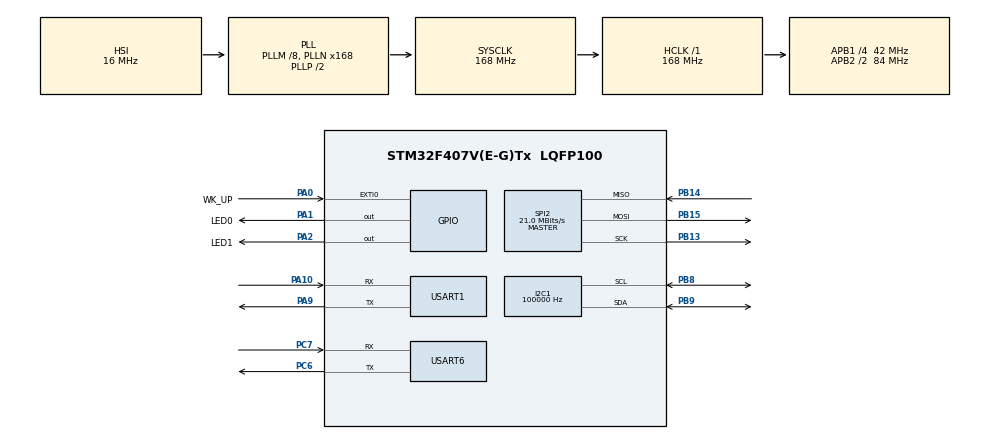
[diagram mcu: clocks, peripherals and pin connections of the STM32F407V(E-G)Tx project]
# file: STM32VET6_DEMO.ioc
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Dma.Request0=USART1_RX
Dma.USART1_RX.0.Direction=DMA_PERIPH_TO_MEMORY
Dma.USART1_RX.0.FIFOMode=DMA_FIFOMODE_DISABLE
Dma.USART1_RX.0.Instance=DMA2_Stream5
Dma.USART1_RX.0.MemDataAlignment=DMA_MDATAALIGN_BYTE
Dma.USART1_RX.0.MemInc=DMA_MINC_ENABLE
Dma.USART1_RX.0.Mode=DMA_NORMAL
Dma.USART1_RX.0.PeriphDataAlignment=DMA_PDATAALIGN_BYTE
Dma.USART1_RX.0.PeriphInc=DMA_PINC_DISABLE
Dma.USART1_RX.0.Priority=DMA_PRIORITY_MEDIUM
I2C1.ClockSpeed=100000
I2C1.I2C_Mode=I2C_Fast
Mcu.Family=STM32F4
Mcu.Name=STM32F407V(E-G)Tx
Mcu.Package=LQFP100
NVIC.DMA2_Stream5_IRQn=true\:0\:0\:false\:false\:true\:true\:true\:true
NVIC.EXTI0_IRQn=true\:0\:0\:false\:false\:true\:true\:true\:true
NVIC.PriorityGroup=NVIC_PRIORITYGROUP_4
NVIC.USART1_IRQn=true\:0\:0\:false\:false\:true\:true\:true\:true
PA0-WKUP.GPIO_Label=WK_UP
PA0-WKUP.GPIO_PuPd=GPIO_PULLDOWN
PA0-WKUP.Signal=GPXTI0
PA1.GPIO_Label=LED0
PA1.GPIO_PuPd=GPIO_PULLUP
PA1.Signal=GPIO_Output
PA10.Mode=Asynchronous
PA10.Signal=USART1_RX
PA13.Mode=Serial_Wire
PA13.Signal=SYS_JTMS-SWDIO
PA14.Mode=Serial_Wire
PA14.Signal=SYS_JTCK-SWCLK
PA2.GPIO_Label=LED1
PA2.GPIO_PuPd=GPIO_PULLUP
PA2.Signal=GPIO_Output
PA9.Mode=Asynchronous
PA9.Signal=USART1_TX
PB13.Mode=Full_Duplex_Master
PB13.Signal=SPI2_SCK
PB14.Mode=Full_Duplex_Master
PB14.Signal=SPI2_MISO
PB15.Mode=Full_Duplex_Master
PB15.Signal=SPI2_MOSI
PB8.GPIO_Mode=GPIO_MODE_AF_OD
PB8.GPIO_Pu=GPIO_PULLUP
PB8.Mode=I2C
PB8.Signal=I2C1_SCL
PB9.GPIO_Pu=GPIO_PULLUP
PB9.Mode=I2C
PB9.Signal=I2C1_SDA
PC6.Mode=Asynchronous
PC6.Signal=USART6_TX
PC7.Mode=Asynchronous
PC7.Signal=USART6_RX
PH0-OSC_IN.Mode=HSE-External-Oscillator
PH0-OSC_IN.Signal=RCC_OSC_IN
PH1-OSC_OUT.Mode=HSE-External-Oscillator
PH1-OSC_OUT.Signal=RCC_OSC_OUT
ProjectManager.HeapSize=0x200
ProjectManager.StackSize=0x400
ProjectManager.TargetToolchain=STM32CubeIDE
RCC.48MHZClocksFreq_Value=84000000
RCC.AHBFreq_Value=168000000
RCC.APB1CLKDivider=RCC_HCLK_DIV4
RCC.APB1Freq_Value=42000000
RCC.APB1TimFreq_Value=84000000
RCC.APB2CLKDivider=RCC_HCLK_DIV2
RCC.APB2Freq_Value=84000000
RCC.APB2TimFreq_Value=168000000
RCC.CortexFreq_Value=168000000
RCC.HCLKFreq_Value=168000000
RCC.HSE_VALUE=25000000
RCC.HSI_VALUE=16000000
RCC.LSE_VALUE=32768
RCC.PLLM=8
RCC.PLLN=168
RCC.SYSCLKFreq_VALUE=168000000
RCC.SYSCLKSource=RCC_SYSCLKSOURCE_PLLCLK
RCC.VCOOutputFreq_Value=336000000
SPI2.CalculateBaudRate=21.0 MBits/s
SPI2.Direction=SPI_DIRECTION_2LINES
SPI2.Mode=SPI_MODE_MASTER
SPI2.VirtualType=VM_MASTER
USART1.VirtualMode=VM_ASYNC
USART6.VirtualMode=VM_ASYNC
VP_CRC_VS_CRC.Mode=CRC_Activate
board=custom

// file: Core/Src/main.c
/* USER CODE BEGIN Header */
/**
  ******************************************************************************
  * @file           : main.c
  * @brief          : Main program body
  ******************************************************************************
  * @attention
  *
  * Copyright (c) 2025 STMicroelectronics.
  * All rights reserved.
  *
  * This software is licensed under terms that can be found in the LICENSE file
  * in the root directory of this software component.
  * If no LICENSE file comes with this software, it is provided AS-IS.
  *
  ******************************************************************************
  */
/* USER CODE END Header */
#include "main.h"
#include "crc.h"
#include "dma.h"
#include "i2c.h"
#include "spi.h"
#include "usart.h"
#include "gpio.h"

/* USER CODE BEGIN Includes */
#include "Protocolprocessing.h"
#include "AT24C02.h"
#include "SoftwareCRC.h"

/* USER CODE END Includes */

/* USER CODE BEGIN PV */
uint8_t key_flag = 0;
uint8_t uart_flag = 0;

extern PConectTypeDef PConect;

/* USER CODE END PV */

void SystemClock_Config(void);

/* USER CODE BEGIN 0 */
int __io_putchar(int ch)
{
	HAL_UART_Transmit(&huart1,(uint8_t*)&ch, 1, 0xFFFF);
	return ch;
}

void HAL_GPIO_EXTI_Callback(uint16_t GPIO_Pin)
{
	if(HAL_GPIO_ReadPin(GPIOA,GPIO_PIN_0) == GPIO_PIN_SET)
	{
		for(int temp = 65536*50;temp != 0;temp--);
		HAL_GPIO_TogglePin(GPIOA,GPIO_PIN_2);
		key_flag = 1;
	}
}

void HAL_UARTEx_RxEventCallback(UART_HandleTypeDef *huart, uint16_t Size)
{
    if (huart == &huart1)
    {
    	rx_num = Size;
    	uart_flag = 1;
    	HAL_GPIO_TogglePin(GPIOA,GPIO_PIN_2);
        HAL_UARTEx_ReceiveToIdle_DMA(&huart1,rx_buffer,BUF_SIZE);
        __HAL_DMA_DISABLE_IT(&hdma_usart1_rx,DMA_IT_HT);
    }
}

/* USER CODE END 0 */

int main(void)
{

  /* MCU Configuration--------------------------------------------------------*/

  /* Reset of all peripherals, Initializes the Flash interface and the Systick. */
  HAL_Init();

  /* Configure the system clock */
  SystemClock_Config();

  /* Initialize all configured peripherals */
  MX_GPIO_Init();
  MX_DMA_Init();
  MX_USART1_UART_Init();
  MX_I2C1_Init();
  MX_CRC_Init();
  MX_USART6_UART_Init();
  MX_SPI2_Init();
  /* USER CODE BEGIN 2 */
  HAL_UARTEx_ReceiveToIdle_DMA(&huart1,rx_buffer,BUF_SIZE);

  /* USER CODE END 2 */

  /* Infinite loop */
  /* USER CODE BEGIN WHILE */
//	for(int i = 0;i < 128;i++)
//	{
//		rx_buffer[i] = i+1;
//		AT24Write(i,&rx_buffer[i],0);
//	}
  write_fault_header(&FaultHeader);
  write_fault_header(&FaultHeader);

  while (1)
  {
	  HAL_GPIO_TogglePin(GPIOA,GPIO_PIN_1);
	  HAL_Delay(200);
//	  CMD_SEND(SwitchScreen,0);
//	  HAL_Delay(1000);
//	  CMD_SEND(SwitchScreen,1);
//	  HAL_Delay(1000);
//	  CMD_SEND(SwitchScreen,2);
//	  HAL_Delay(1000);
//	  CMD_SEND(SwitchScreen,3);

	  if(uart_flag == 1)
	  {
		  uart_flag = 0;
		  PConectProcess();
	  }

	  if(key_flag == 1)
	  {
		  DDSend(1,1000000,6,150);
		  key_flag = 0;
	  }
    /* USER CODE END WHILE */

  }
}

void SystemClock_Config(void)
{
  RCC_OscInitTypeDef RCC_OscInitStruct = {0};
  RCC_ClkInitTypeDef RCC_ClkInitStruct = {0};

  /** Configure the main internal regulator output voltage
  */
  __HAL_RCC_PWR_CLK_ENABLE();
  __HAL_PWR_VOLTAGESCALING_CONFIG(PWR_REGULATOR_VOLTAGE_SCALE1);

  /** Initializes the RCC Oscillators according to the specified parameters
  * in the RCC_OscInitTypeDef structure.
  */
  RCC_OscInitStruct.OscillatorType = RCC_OSCILLATORTYPE_HSI;
  RCC_OscInitStruct.HSIState = RCC_HSI_ON;
  RCC_OscInitStruct.HSICalibrationValue = RCC_HSICALIBRATION_DEFAULT;
  RCC_OscInitStruct.PLL.PLLState = RCC_PLL_ON;
  RCC_OscInitStruct.PLL.PLLSource = RCC_PLLSOURCE_HSI;
  RCC_OscInitStruct.PLL.PLLM = 8;
  RCC_OscInitStruct.PLL.PLLN = 168;
  RCC_OscInitStruct.PLL.PLLP = RCC_PLLP_DIV2;
  RCC_OscInitStruct.PLL.PLLQ = 4;
  if (HAL_RCC_OscConfig(&RCC_OscInitStruct) != HAL_OK)
  {
    Error_Handler();
  }

  /** Initializes the CPU, AHB and APB buses clocks
  */
  RCC_ClkInitStruct.ClockType = RCC_CLOCKTYPE_HCLK|RCC_CLOCKTYPE_SYSCLK
                              |RCC_CLOCKTYPE_PCLK1|RCC_CLOCKTYPE_PCLK2;
  RCC_ClkInitStruct.SYSCLKSource = RCC_SYSCLKSOURCE_PLLCLK;
  RCC_ClkInitStruct.AHBCLKDivider = RCC_SYSCLK_DIV1;
  RCC_ClkInitStruct.APB1CLKDivider = RCC_HCLK_DIV4;
  RCC_ClkInitStruct.APB2CLKDivider = RCC_HCLK_DIV2;

  if (HAL_RCC_ClockConfig(&RCC_ClkInitStruct, FLASH_LATENCY_5) != HAL_OK)
  {
    Error_Handler();
  }
}

void Error_Handler(void)
{
  __disable_irq();
  while (1)
  {
  }
}
